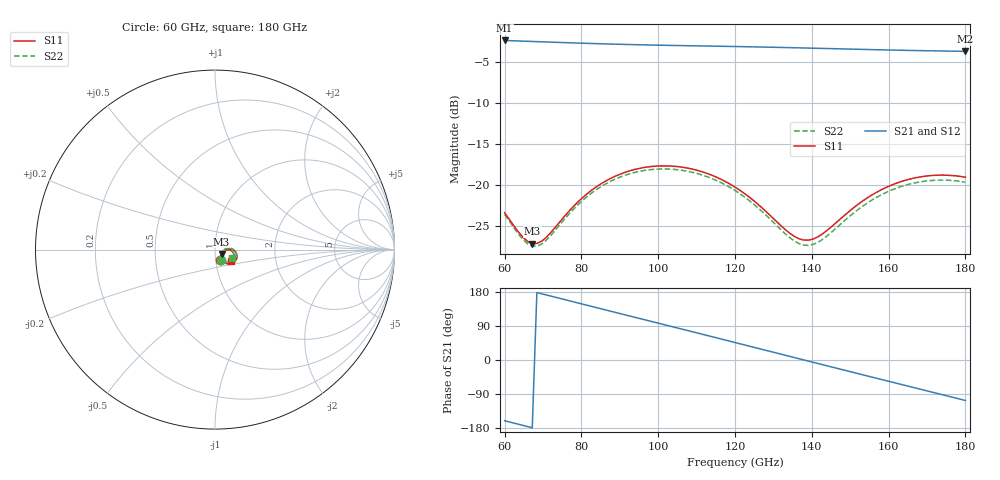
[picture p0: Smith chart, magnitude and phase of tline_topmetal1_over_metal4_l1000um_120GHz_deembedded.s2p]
! Created with skrf 2.0.1 (http://scikit-rf.org).
# GHz S DB R 50.0
!freq dBS11 angS11 dBS21 angS21 dBS12 angS12 dBS22 angS22
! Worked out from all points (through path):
!   101 points, 60 GHz to 180 GHz, reference 50 ohm
!   highest |S21| = -2.37 dB at 60 GHz (marker M1); lowest = -3.7 dB at 180 GHz (marker M2)
!   group delay of S21, straight-line fit = 7.1 ps
!   lowest |S11| = -27.1 dB at 67.2 GHz (marker M3), VSWR 1.09, Z = 53.7 - j2.62 ohm
!   |S11| at or under -10 dB: start of sweep to end of sweep
!   |S22| runs from -27.5 to -18.0 dB; largest |S21 - S12| = 1.2e-13
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60  -23.37 -63.3  -2.37 -160.2  -2.37 -160.2  -23.58 -61.9
64.8  -26.39 -47.7  -2.45 -172.7  -2.45 -172.7  -26.66 -46.2
67.2  -27.14 -33.6  -2.49 -178.9  -2.49 -178.9  -27.45 -31.9
70.8  -26.41 -12.8  -2.56 171.8  -2.56 171.8  -26.76 -10.6
75.6  -23.82 0.8  -2.64 159.5  -2.64 159.5  -24.17 3.5
80.4  -21.50 2.5  -2.71 147.2  -2.71 147.2  -21.84 5.5
85.2  -19.83 -1.1  -2.78 134.9  -2.78 134.9  -20.17 2.2
91.2  -18.48 -8.8  -2.85 119.7  -2.85 119.7  -18.84 -5.2
96  -17.89 -16.1  -2.91 107.5  -2.91 107.5  -18.26 -12.3
100.8  -17.67 -23.9  -2.95 95.2  -2.95 95.2  -18.04 -19.8
105.6  -17.79 -31.6  -2.99 83.0  -2.99 83.0  -18.17 -27.4
110.4  -18.24 -39.2  -3.03 70.7  -3.03 70.7  -18.64 -34.7
120  -20.25 -51.5  -3.11 46.2  -3.11 46.2  -20.67 -46.7
126  -22.36 -54.7  -3.17 30.7  -3.17 30.7  -22.79 -49.8
130.8  -24.45 -51.4  -3.21 18.4  -3.21 18.4  -24.92 -46.5
136.8  -26.58 -34.6  -3.28 3.0  -3.28 3.0  -27.18 -29.6
140.4  -26.58 -20.1  -3.32 -6.2  -3.32 -6.2  -27.24 -14.5
150  -23.11 -1.3  -3.43 -30.7  -3.43 -30.7  -23.76 5.6
160.8  -20.00 -7.9  -3.54 -58.1  -3.54 -58.1  -20.61 -0.5
170.4  -18.88 -20.8  -3.63 -82.5  -3.63 -82.5  -19.48 -13.1
175.2  -18.81 -27.8  -3.67 -94.6  -3.67 -94.6  -19.41 -20.0
180  -19.05 -34.5  -3.71 -106.8  -3.71 -106.8  -19.66 -26.8
